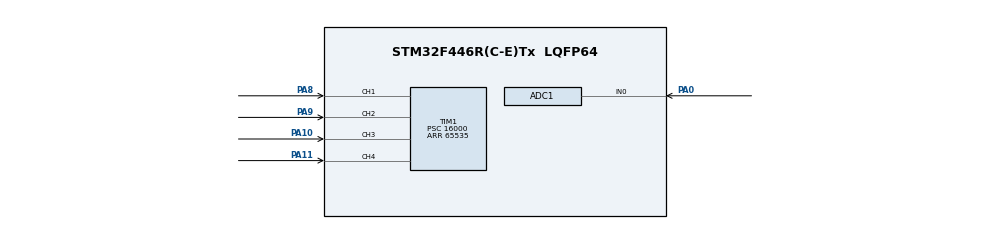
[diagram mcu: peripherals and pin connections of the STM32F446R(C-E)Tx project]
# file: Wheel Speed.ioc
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ADC1.Channel-0\#ChannelRegularConversion=ADC_CHANNEL_0
ADC1.NbrOfConversionFlag=1
ADC1.Rank-0\#ChannelRegularConversion=1
ADC1.SamplingTime-0\#ChannelRegularConversion=ADC_SAMPLETIME_3CYCLES
ADC1.master=1
Mcu.Family=STM32F4
Mcu.Name=STM32F446R(C-E)Tx
Mcu.Package=LQFP64
NVIC.ADC_IRQn=true\:0\:0\:false\:false\:true\:true
NVIC.PriorityGroup=NVIC_PRIORITYGROUP_4
NVIC.TIM1_BRK_TIM9_IRQn=true\:0\:0\:false\:false\:true\:true
NVIC.TIM1_CC_IRQn=true\:0\:0\:false\:false\:true\:true
NVIC.TIM1_TRG_COM_TIM11_IRQn=true\:0\:0\:false\:false\:true\:true
NVIC.TIM1_UP_TIM10_IRQn=true\:0\:0\:false\:false\:true\:true
PA0-WKUP.Signal=ADCx_IN0
PA10.Signal=S_TIM1_CH3
PA11.Signal=S_TIM1_CH4
PA8.Signal=S_TIM1_CH1
PA9.Signal=S_TIM1_CH2
ProjectManager.HeapSize=0x200
ProjectManager.StackSize=0x400
ProjectManager.TargetToolchain=MDK-ARM V5
RCC.CortexFreq_Value=16000000
RCC.USBFreq_Value=96000000
RCC.VCOOutputFreq_Value=192000000
SH.ADCx_IN0.0=ADC1_IN0,IN0
SH.S_TIM1_CH1.0=TIM1_CH1,Input_Capture1_from_TI1
SH.S_TIM1_CH2.0=TIM1_CH2,Input_Capture2_from_TI2
SH.S_TIM1_CH3.0=TIM1_CH3,Input_Capture3_from_TI3
SH.S_TIM1_CH4.0=TIM1_CH4,Input_Capture4_from_TI4
TIM1.Channel-Input_Capture1_from_TI1=TIM_CHANNEL_1
TIM1.Channel-Input_Capture2_from_TI2=TIM_CHANNEL_2
TIM1.Channel-Input_Capture3_from_TI3=TIM_CHANNEL_3
TIM1.Channel-Input_Capture4_from_TI4=TIM_CHANNEL_4
TIM1.ICFilter_CH1=15
TIM1.Period=65535
TIM1.Prescaler=16000
VP_TIM1_VS_ClockSourceINT.Mode=Internal
board=custom

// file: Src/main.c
/**
  ******************************************************************************
  * @file           : main.c
  * @brief          : Main program body
  ******************************************************************************
  ** This notice applies to any and all portions of this file
  * that are not between comment pairs USER CODE BEGIN and
  * USER CODE END. Other portions of this file, whether
  * inserted by the user or by software development tools
  * are owned by their respective copyright owners.
  *
  * COPYRIGHT(c) 2018 STMicroelectronics
  *
  * Redistribution and use in source and binary forms, with or without modification,
  * are permitted provided that the following conditions are met:
  *   1. Redistributions of source code must retain the above copyright notice,
  *      this list of conditions and the following disclaimer.
  *   2. Redistributions in binary form must reproduce the above copyright notice,
  *      this list of conditions and the following disclaimer in the documentation
  *      and/or other materials provided with the distribution.
  *   3. Neither the name of STMicroelectronics nor the names of its contributors
  *      may be used to endorse or promote products derived from this software
  *      without specific prior written permission.
  *
  * THIS SOFTWARE IS PROVIDED BY THE COPYRIGHT HOLDERS AND CONTRIBUTORS "AS IS"
  * AND ANY EXPRESS OR IMPLIED WARRANTIES, INCLUDING, BUT NOT LIMITED TO, THE
  * IMPLIED WARRANTIES OF MERCHANTABILITY AND FITNESS FOR A PARTICULAR PURPOSE ARE
  * DISCLAIMED. IN NO EVENT SHALL THE COPYRIGHT HOLDER OR CONTRIBUTORS BE LIABLE
  * FOR ANY DIRECT, INDIRECT, INCIDENTAL, SPECIAL, EXEMPLARY, OR CONSEQUENTIAL
  * DAMAGES (INCLUDING, BUT NOT LIMITED TO, PROCUREMENT OF SUBSTITUTE GOODS OR
  * SERVICES; LOSS OF USE, DATA, OR PROFITS; OR BUSINESS INTERRUPTION) HOWEVER
  * CAUSED AND ON ANY THEORY OF LIABILITY, WHETHER IN CONTRACT, STRICT LIABILITY,
  * OR TORT (INCLUDING NEGLIGENCE OR OTHERWISE) ARISING IN ANY WAY OUT OF THE USE
  * OF THIS SOFTWARE, EVEN IF ADVISED OF THE POSSIBILITY OF SUCH DAMAGE.
  *
  ******************************************************************************
  */
#include "main.h"
#include "stm32f4xx_hal.h"
#include "adc.h"
#include "tim.h"
#include "gpio.h"

/* USER CODE BEGIN Includes */
#define pi 3.1415
#define radiusOfWheel .5
#define clkFreq 16000000

uint16_t frontRightFlag =0 ;
uint16_t frontLeftFlag =0 ;
uint16_t rearRightFlag =0 ;
uint16_t rearLeftFlag =0 ;

uint16_t frontRightInputCapture =0 ;  // variable to store counter of timer 1 value
uint16_t frontLeftInputCapture =0 ;	 // variable to store counter of timer 2 value
uint16_t rearRightInputCapture =0 ;	 // variable to store counter of timer 3 value
uint16_t rearLeftInputCapture =0 ;	 // variable to store counter of timer 4 value

float frontRightWheelSpeed =0 ;		// speed of front Right Wheel
float frontLeftWheelSpeed =0 ;  // speed of front left Wheel
float rearRightWheelSpeed =0 ;		// speed of rear Right Wheel
float rearLeftWheelSpeed =0 ;		// speed of rear left Wheel

float carAvarageSpeed =0 ;   		// avarage speed of the car

/* USER CODE END Includes */

/* USER CODE BEGIN PV */
/* Private variables ---------------------------------------------------------*/

/* USER CODE END PV */

void SystemClock_Config(void);

/* USER CODE BEGIN PFP */
/* Private function prototypes -----------------------------------------------*/

/* USER CODE END PFP */

/* USER CODE BEGIN 0 */
void HAL_TIM_IC_CaptureCallback(TIM_HandleTypeDef *htim)
{
 if (htim->Instance==TIM1)
  {
		/* if channel 1 interrupted
			frontRightFlag =1 ;

		if channel 2 interrupted
			frontleftFlag = 1 ;

		if channel 3 interrupted
			rearRightFlag =1 ;

		if channel 4 interrupted
			rearLeftFlag =1 ;

		*/
	}
}
/* USER CODE END 0 */

int main(void)
{
  /* USER CODE BEGIN 1 */
	uint32_t frontRightDuration =0 ;		// duration of 1/4 of front Right Wheel
	uint32_t frontLeftDuration =0 ;			// duration of 1/4 of front left Wheel
	uint32_t rearRightDuration =0 ;			// duration of 1/4 of rear Right Wheel
	uint32_t rearleftDuration =0 ;			// duration of 1/4 of rear left Wheel

  /* USER CODE END 1 */

  /* MCU Configuration----------------------------------------------------------*/

  /* Reset of all peripherals, Initializes the Flash interface and the Systick. */
  HAL_Init();

  /* USER CODE BEGIN Init */
	HAL_TIM_IC_Start_IT(&htim1, TIM_CHANNEL_1);
	HAL_TIM_IC_Start_IT(&htim1, TIM_CHANNEL_2);
	HAL_TIM_IC_Start_IT(&htim1, TIM_CHANNEL_3);
	HAL_TIM_IC_Start_IT(&htim1, TIM_CHANNEL_4);

  /* USER CODE END Init */

  /* Configure the system clock */
  SystemClock_Config();

  /* Initialize all configured peripherals */
  MX_GPIO_Init();
  MX_TIM1_Init();
  MX_ADC1_Init();

  /* Infinite loop */
  while (1)
  {

  /* USER CODE BEGIN 3 */
	if (frontRightFlag == 1){
		frontRightInputCapture = (__HAL_TIM_GetCompare(&htim1, TIM_CHANNEL_1)- frontRightInputCapture );    //read TIM1 channel 1 capture value
		frontRightDuration = ( frontRightInputCapture / clkFreq ) ;    // duration in seconds
		frontRightWheelSpeed = (((60 /(4*frontRightDuration)) *(2*pi/60)) * radiusOfWheel ) ; // 60 to convert to min, 2pi/60 to convert to rad/sec, *raduis to convert to m/sec
		frontRightFlag =0 ;
	}
	if (frontLeftFlag == 1){
		frontLeftInputCapture= (__HAL_TIM_GetCompare(&htim1, TIM_CHANNEL_2)- frontLeftInputCapture);    //read TIM1 channel 1 capture value
		frontLeftDuration = (frontLeftInputCapture / clkFreq) ;    // duration in seconds
		frontLeftWheelSpeed = (((60 /(4*frontLeftDuration)) *(2*pi/60)) * radiusOfWheel ) ; // 60 to convert to min, 2pi/60 to convert to rad/sec, *raduis to convert to m/sec
		frontLeftFlag =0 ;
	}
	if (rearRightFlag == 1){
		rearRightInputCapture= (__HAL_TIM_GetCompare(&htim1, TIM_CHANNEL_3)- rearRightInputCapture);    //read TIM1 channel 1 capture value
		rearRightDuration = (rearRightInputCapture / clkFreq);    // duration in seconds
		rearRightWheelSpeed = (((60 /(4*rearRightDuration)) *(2*pi/60)) * radiusOfWheel ) ;// 60 to convert to min, 2pi/60 to convert to rad/sec, *raduis to convert to m/sec
		rearRightFlag =0 ;
	}
	if (rearLeftFlag== 1){
		rearLeftInputCapture= (__HAL_TIM_GetCompare(&htim1, TIM_CHANNEL_4)- rearLeftInputCapture);    //read TIM1 channel 1 capture value
		rearleftDuration = (rearLeftInputCapture / clkFreq) ; 		  // duration in seconds
		rearLeftWheelSpeed = (((60 /(4*rearleftDuration)) *(2*pi/60)) * radiusOfWheel ) ;// 60 to convert to min, 2pi/60 to convert to rad/sec, *raduis to convert to m/sec
		rearLeftFlag = 0;
	}

	carAvarageSpeed = ((frontRightWheelSpeed + frontLeftWheelSpeed + rearRightWheelSpeed + rearLeftWheelSpeed )/4) ; // avarage speed of the car
  }
  /* USER CODE END 3 */

}

void SystemClock_Config(void)
{

  RCC_OscInitTypeDef RCC_OscInitStruct;
  RCC_ClkInitTypeDef RCC_ClkInitStruct;

    /**Configure the main internal regulator output voltage
    */
  __HAL_RCC_PWR_CLK_ENABLE();

  __HAL_PWR_VOLTAGESCALING_CONFIG(PWR_REGULATOR_VOLTAGE_SCALE3);

    /**Initializes the CPU, AHB and APB busses clocks
    */
  RCC_OscInitStruct.OscillatorType = RCC_OSCILLATORTYPE_HSI;
  RCC_OscInitStruct.HSIState = RCC_HSI_ON;
  RCC_OscInitStruct.HSICalibrationValue = 16;
  RCC_OscInitStruct.PLL.PLLState = RCC_PLL_NONE;
  if (HAL_RCC_OscConfig(&RCC_OscInitStruct) != HAL_OK)
  {
    _Error_Handler(__FILE__, __LINE__);
  }

    /**Initializes the CPU, AHB and APB busses clocks
    */
  RCC_ClkInitStruct.ClockType = RCC_CLOCKTYPE_HCLK|RCC_CLOCKTYPE_SYSCLK
                              |RCC_CLOCKTYPE_PCLK1|RCC_CLOCKTYPE_PCLK2;
  RCC_ClkInitStruct.SYSCLKSource = RCC_SYSCLKSOURCE_HSI;
  RCC_ClkInitStruct.AHBCLKDivider = RCC_SYSCLK_DIV1;
  RCC_ClkInitStruct.APB1CLKDivider = RCC_HCLK_DIV1;
  RCC_ClkInitStruct.APB2CLKDivider = RCC_HCLK_DIV1;

  if (HAL_RCC_ClockConfig(&RCC_ClkInitStruct, FLASH_LATENCY_0) != HAL_OK)
  {
    _Error_Handler(__FILE__, __LINE__);
  }

    /**Configure the Systick interrupt time
    */
  HAL_SYSTICK_Config(HAL_RCC_GetHCLKFreq()/1000);

    /**Configure the Systick
    */
  HAL_SYSTICK_CLKSourceConfig(SYSTICK_CLKSOURCE_HCLK);

  /* SysTick_IRQn interrupt configuration */
  HAL_NVIC_SetPriority(SysTick_IRQn, 0, 0);
}

void _Error_Handler(char *file, int line)
{
  while(1)
  {
  }
}

/************************ (C) COPYRIGHT STMicroelectronics *****END OF FILE****/
